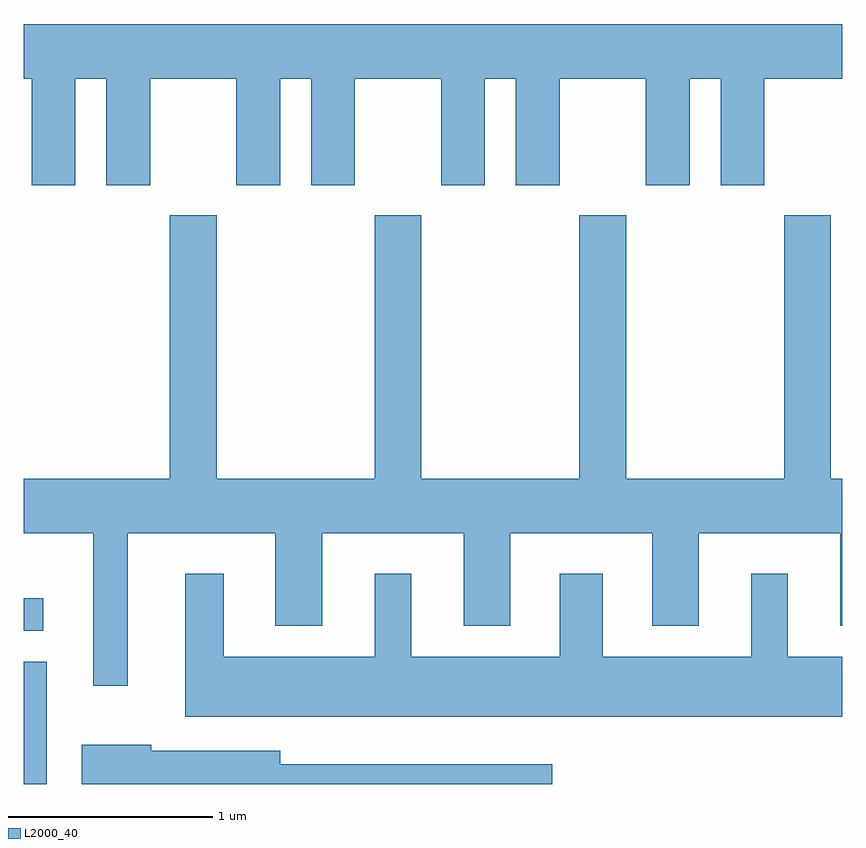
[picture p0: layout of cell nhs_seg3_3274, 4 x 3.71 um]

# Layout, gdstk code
import gdstk
lib = gdstk.Library(unit=1e-6, precision=1e-09)
def R(c, l, rs):  # rectangles x0, y0, x1, y1
    for r in rs: c.add(gdstk.rectangle(r[:2], r[2:], *l))
def P(c, l, *ps):  # polygons
    for p in ps: c.add(gdstk.Polygon(p, *l))
L2000_40 = (2000, 40)

nhs_seg3_3274 = lib.new_cell('nhs_seg3_3274')
R(nhs_seg3_3274, L2000_40, [(281.611,1135.892,281.724,1136.489), (281.611,1136.641,281.708,1136.799)])
P(nhs_seg3_3274, L2000_40, [(281.611,1139.336),(281.651,1139.336),(281.651,1138.816),(281.864,1138.816),(281.864,1139.336),(282.016,1139.336),(282.016,1138.816),(282.229,1138.816),(282.229,1139.336),(282.651,1139.336),(282.651,1138.816),(282.864,1138.816),(282.864,1139.336),(283.016,1139.336),(283.016,1138.816),(283.229,1138.816),(283.229,1139.336),(283.651,1139.336),(283.651,1138.816),(283.864,1138.816),(283.864,1139.336),(284.016,1139.336),(284.016,1138.816),(284.229,1138.816),(284.229,1139.336),(284.651,1139.336),(284.651,1138.816),(284.864,1138.816),(284.864,1139.336),(285.016,1139.336),(285.016,1138.816),(285.229,1138.816),(285.229,1139.336),(285.611,1139.336),(285.611,1139.604),(281.611,1139.604)],
  [(283.554,1138.669),(283.326,1138.669),(283.326,1137.384),(282.554,1137.384),(282.554,1138.669),(282.326,1138.669),(282.326,1137.384),(281.611,1137.384),(281.611,1137.116),(281.951,1137.116),(281.951,1136.373),(282.119,1136.373),(282.119,1137.116),(282.841,1137.116),(282.841,1136.666),(283.069,1136.666),(283.069,1137.116),(283.761,1137.116),(283.761,1136.666),(283.989,1136.666),(283.989,1137.116),(284.681,1137.116),(284.681,1136.666),(284.909,1136.666),(284.909,1137.116),(285.601,1137.116),(285.601,1136.666),(285.611,1136.666),(285.611,1137.384),(285.554,1137.384),(285.554,1138.669),(285.326,1138.669),(285.326,1137.384),(284.554,1137.384),(284.554,1138.669),(284.326,1138.669),(284.326,1137.384),(283.554,1137.384)],
  [(285.611,1136.514),(285.344,1136.514),(285.344,1136.919),(285.166,1136.919),(285.166,1136.514),(284.439,1136.514),(284.439,1136.919),(284.231,1136.919),(284.231,1136.514),(283.504,1136.514),(283.504,1136.919),(283.326,1136.919),(283.326,1136.514),(282.589,1136.514),(282.589,1136.919),(282.401,1136.919),(282.401,1136.221),(285.611,1136.221)],
  [(284.193,1135.989),(282.864,1135.989),(282.864,1136.054),(282.234,1136.054),(282.234,1136.084),(281.896,1136.084),(281.896,1135.892),(284.193,1135.892)])

lib.write_gds('nhs_seg3_3274.gds')
